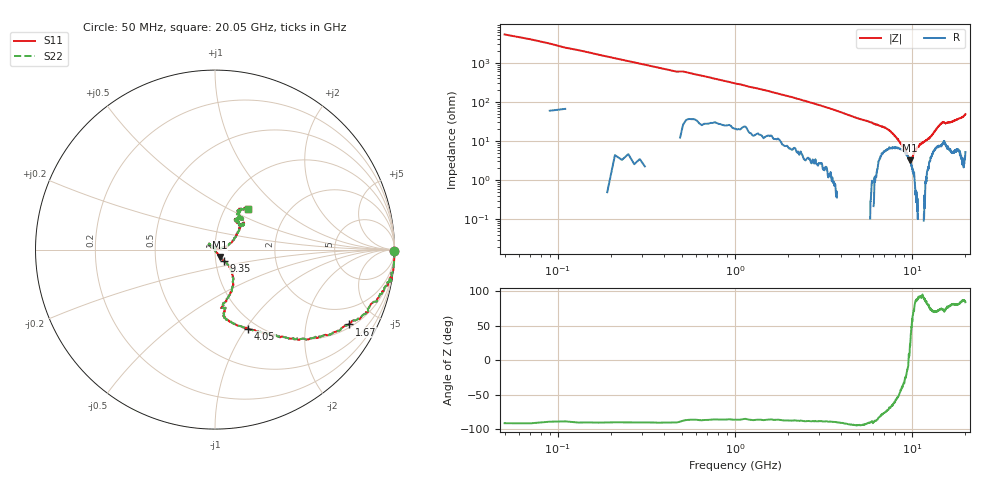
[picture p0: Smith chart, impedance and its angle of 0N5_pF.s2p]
! 500R07S0R5BV4
! Data taken April 11, 2003
! Data taken on a HP 8720C VNA using a series-through test fixture and TRL* de-embedding
#	mhz	s	ma	r	50
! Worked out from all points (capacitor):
!   1001 points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, 50 MHz to 20.05 GHz, reference 50 ohm
!   read as one part in series: C = 579 fF near 150 MHz
!   lowest |Z| = 3.17 ohm at 9.73 GHz (marker M1)
!   series resonance near 9.57 GHz, so ESL is about 480 pH
!   S11 on the Smith chart (normalised r, x): 50 MHz: open; 1.67 GHz: 1.13, -3.50; 4.05 GHz: 0.90, -1.03; 9.35 GHz: 1.09, -0.13; 20.05 GHz: 1.27, +0.62
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50  1 -0.4  0.01891 90.7  0.01891 90.7  1 -0.4
230  1 -4.5  0.08366 85.4  0.08366 85.4  1 -4.5
450  0.998 -10.2  0.1618 79.7  0.1618 79.7  0.998 -10.2
1670  0.8552 -29.2  0.4962 56.8  0.4962 56.8  0.8552 -29.2
3390  0.572 -56.5  0.7971 33.1  0.7971 33.1  0.572 -56.5
4050  0.479 -67.2  0.8511 26.2  0.8511 26.2  0.479 -67.2
5110  0.3866 -81.8  0.8999 17.4  0.8999 17.4  0.3866 -81.8
6730  0.2715 -73.5  0.9173 8.7  0.9173 8.7  0.2715 -73.5
9350  0.078 -51.4  0.9595 -2.0  0.9595 -2.0  0.078 -51.4
9730  0.04775 -57.6  0.968 -3.4  0.968 -3.4  0.04775 -57.6
10050  0.0154 -70.8  0.9658 -4.3  0.9658 -4.3  0.0154 -70.8
10230  0.00473 -132.4  0.9697 -5.3  0.9697 -5.3  0.00473 -132.4
10490  0.0205 143.0  0.9734 -6.1  0.9734 -6.1  0.0205 143.0
11170  0.0449 139.1  0.9681 -7.9  0.9681 -7.9  0.0449 139.1
11570  0.03748 138.0  0.9727 -9.4  0.9727 -9.4  0.03748 138.0
12190  0.0114 85.5  0.9645 -11.8  0.9645 -11.8  0.0114 85.5
12350  0.01193 43.0  0.9638 -12.4  0.9638 -12.4  0.01193 43.0
12850  0.04039 15.5  0.9588 -13.5  0.9588 -13.5  0.04039 15.5
13390  0.0896 22.6  0.9609 -15.2  0.9609 -15.2  0.0896 22.6
14870  0.2144 43.2  0.9273 -20.1  0.9273 -20.1  0.2144 43.2
16730  0.2016 56.2  0.9241 -22.0  0.9241 -22.0  0.2016 56.2
20050  0.2888 51.0  0.86 -36.0  0.86 -36.0  0.2888 51.0
